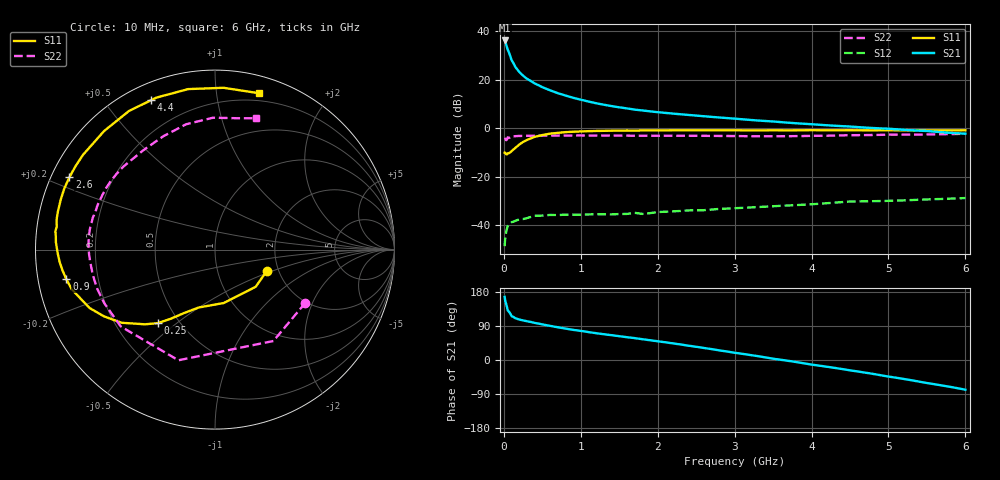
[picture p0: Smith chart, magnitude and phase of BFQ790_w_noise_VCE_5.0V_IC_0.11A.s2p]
! Infineon Technologies  Discrete & RF Semiconductors
! BFQ790
! VCE =  5.0 V,  IC = 0.11 A
! Common Emitter S-Parameters:  May 2015
# GHz  S  MA  R  50
!  f  S11  S21  S12  S22
! GHz  MAG  ANG  MAG  ANG  MAG  ANG  MAG  ANG
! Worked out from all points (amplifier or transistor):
!   77 points, 10 MHz to 6 GHz, reference 50 ohm
!   highest |S21| = 36.2 dB at 10 MHz (marker M1)
!   |S21| within 3 dB of that: start of sweep to 42.51 MHz
!   unconditionally stable (mu >= 1): start of sweep to 17.78 MHz; 208.9 MHz to 391.4 MHz; 969.3 MHz to end of sweep
!   at 130 MHz: K = 0.85, MSG = 32.4 dB, |S12| = -38.4 dB
!   at 2.2 GHz: K = 1.26, MAG = 17.1 dB, |S12| = -34.3 dB
!   at 6 GHz: K = 1.25, MAG = 10.2 dB, |S12| = -28.8 dB
!   lowest NFmin = 2.66 dB at 1.5 GHz
!   S11 on the Smith chart (normalised r, x): 10 MHz: 1.74, -0.45; 250 MHz: 0.38, -0.43; 900 MHz: 0.09, -0.10; 2.6 GHz: 0.05, +0.23; 4.4 GHz: 0.07, +0.66; 6 GHz: 0.14, +1.31
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0.01  0.3128 -22.0  64.21 166.6  0.0037 30.6  0.5844 -30.4
0.02  0.3071 -42.4  59.72 154.2  0.006 43.4  0.6043 -57.4
0.05  0.3016 -80.7  41.74 130.8  0.0096 29.5  0.6495 -108.3
0.1  0.3353 -105.8  25.39 115.8  0.0115 22.4  0.6775 -140.8
0.15  0.3934 -116.0  18.23 110.2  0.0123 21.4  0.6853 -154.1
0.2  0.4583 -122.7  14.43 106.8  0.0132 22.9  0.6912 -161.3
0.25  0.5191 -127.9  12.09 104.5  0.0134 17.1  0.6932 -165.9
0.3  0.5711 -133.2  10.45 102.3  0.014 15.3  0.6953 -169.4
0.4  0.6608 -141.9  8.375 98.0  0.0156 13.3  0.6988 -174.4
0.5  0.7218 -149.0  6.997 93.9  0.0158 10.0  0.7021 -178.0
0.6  0.7707 -155.0  6.032 90.1  0.0163 9.5  0.7051 179.1
0.7  0.7992 -160.3  5.271 86.4  0.0162 8.2  0.7059 176.7
0.9  0.8442 -168.7  4.23 79.6  0.0165 6.6  0.706 172.9
1.1  0.8683 -175.4  3.539 73.7  0.0167 6.4  0.7058 169.7
1.5  0.8899 175.3  2.69 62.8  0.017 5.3  0.7012 164.1
2.1  0.9016 164.0  2.064 46.7  0.019 4.1  0.6973 155.8
2.6  0.906 153.6  1.762 31.8  0.0204 0.9  0.6951 146.6
3.1  0.9024 142.1  1.525 16.3  0.0228 -5.4  0.6853 135.5
4.1  0.9062 119.7  1.176 -14.9  0.0277 -16.2  0.6962 112.2
4.4  0.9053 113.2  1.1 -24.0  0.03 -21.4  0.7099 105.2
5.1  0.9025 97.0  0.949 -46.8  0.0321 -34.1  0.7345 88.7
6  0.9054 74.2  0.769 -78.4  0.0363 -52.4  0.7664 72.7
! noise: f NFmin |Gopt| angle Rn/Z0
0.45  4.14  0.4  133  0.41
0.9  2.96  0.54  164  0.14
1.5  2.66  0.66  -175  0.07
1.8  2.77  0.68  -169  0.08
2.6  3.18  0.72  -153  0.2
3.5  3.77  0.83  -136  0.49
